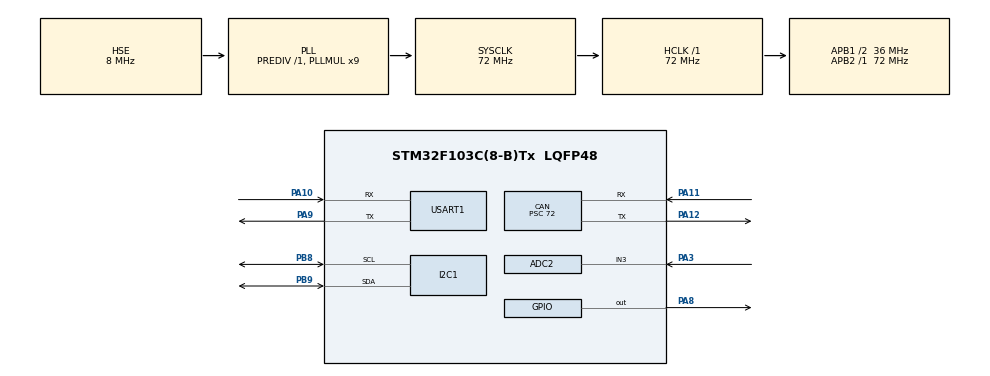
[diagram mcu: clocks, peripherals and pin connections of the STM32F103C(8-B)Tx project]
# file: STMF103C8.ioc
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ADC1.Channel-0\#ChannelRegularConversion=ADC_CHANNEL_TEMPSENSOR
ADC1.ContinuousConvMode=ENABLE
ADC1.NbrOfConversion=1
ADC1.NbrOfConversionFlag=1
ADC1.Rank-0\#ChannelRegularConversion=1
ADC1.SamplingTime-0\#ChannelRegularConversion=ADC_SAMPLETIME_71CYCLES_5
ADC1.master=1
ADC2.Channel-3\#ChannelRegularConversion=ADC_CHANNEL_3
ADC2.ContinuousConvMode=DISABLE
ADC2.EnableRegularConversion=ENABLE
ADC2.NbrOfConversion=1
ADC2.NbrOfConversionFlag=1
ADC2.Rank-3\#ChannelRegularConversion=1
ADC2.SamplingTime-3\#ChannelRegularConversion=ADC_SAMPLETIME_1CYCLE_5
CAN.BS1=CAN_BS1_6TQ
CAN.BS2=CAN_BS2_6TQ
CAN.CalculateBaudRate=38461
CAN.CalculateTimeBit=26000
CAN.CalculateTimeQuantum=2000.0
CAN.Mode=CAN_MODE_LOOPBACK
CAN.Prescaler=72
FREERTOS.Tasks01=defaultTask,24,128,StartDefaultTask,Default,NULL,Dynamic,NULL,NULL
I2C1.OwnAddress=0x55
Mcu.Family=STM32F1
Mcu.Name=STM32F103C(8-B)Tx
Mcu.Package=LQFP48
NVIC.PriorityGroup=NVIC_PRIORITYGROUP_4
NVIC.TIM2_IRQn=true\:5\:0\:false\:false\:true\:true\:true\:true\:true
NVIC.TIM3_IRQn=true\:15\:0\:true\:false\:true\:false\:false\:true\:true
NVIC.TimeBase=TIM3_IRQn
NVIC.TimeBaseIP=TIM3
NVIC.USART1_IRQn=true\:5\:0\:false\:false\:true\:true\:true\:true\:true
NVIC.USB_LP_CAN1_RX0_IRQn=true\:5\:0\:true\:false\:true\:true\:true\:true\:true
PA10.Mode=Asynchronous
PA10.Signal=USART1_RX
PA11.Mode=CAN_Activate
PA11.Signal=CAN_RX
PA12.Mode=CAN_Activate
PA12.Signal=CAN_TX
PA13.Mode=Serial_Wire
PA13.Signal=SYS_JTMS-SWDIO
PA14.Mode=Serial_Wire
PA14.Signal=SYS_JTCK-SWCLK
PA3.Signal=ADCx_IN3
PA8.Signal=GPIO_Output
PA9.Mode=Asynchronous
PA9.Signal=USART1_TX
PB8.Mode=I2C
PB8.Signal=I2C1_SCL
PB9.Mode=I2C
PB9.Signal=I2C1_SDA
PC14-OSC32_IN.Mode=LSE-External-Oscillator
PC14-OSC32_IN.Signal=RCC_OSC32_IN
PC15-OSC32_OUT.Mode=LSE-External-Oscillator
PC15-OSC32_OUT.Signal=RCC_OSC32_OUT
PD0-OSC_IN.Mode=HSE-External-Oscillator
PD0-OSC_IN.Signal=RCC_OSC_IN
PD1-OSC_OUT.Mode=HSE-External-Oscillator
PD1-OSC_OUT.Signal=RCC_OSC_OUT
ProjectManager.HeapSize=0x200
ProjectManager.StackSize=0x400
ProjectManager.TargetToolchain=MDK-ARM V5.32
RCC.ADCPresc=RCC_ADCPCLK2_DIV6
RCC.AHBFreq_Value=72000000
RCC.APB1CLKDivider=RCC_HCLK_DIV2
RCC.APB1Freq_Value=36000000
RCC.APB1TimFreq_Value=72000000
RCC.APB2Freq_Value=72000000
RCC.APB2TimFreq_Value=72000000
RCC.HCLKFreq_Value=72000000
RCC.PLLMUL=RCC_PLL_MUL9
RCC.PLLSourceVirtual=RCC_PLLSOURCE_HSE
RCC.SYSCLKFreq_VALUE=72000000
RCC.SYSCLKSource=RCC_SYSCLKSOURCE_PLLCLK
RCC.USBFreq_Value=72000000
SH.ADCx_IN3.0=ADC2_IN3,IN3
TIM2.Period=20000-1
TIM2.Prescaler=7200-1
USART1.VirtualMode=VM_ASYNC
VP_ADC1_TempSens_Input.Mode=IN-TempSens
VP_FREERTOS_VS_CMSIS_V2.Mode=CMSIS_V2
VP_SYS_VS_tim3.Mode=TIM3
VP_TIM2_VS_ClockSourceINT.Mode=Internal
board=custom

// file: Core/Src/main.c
/* USER CODE BEGIN Header */
/**
 ******************************************************************************
 * @file           : main.c
 * @brief          : Main program body
 ******************************************************************************
 * @attention
 *
 * Copyright (c) 2023 STMicroelectronics.
 * All rights reserved.
 *
 * This software is licensed under terms that can be found in the LICENSE file
 * in the root directory of this software component.
 * If no LICENSE file comes with this software, it is provided AS-IS.
 *
 ******************************************************************************
 */
/* USER CODE END Header */
#include "main.h"
#include "cmsis_os.h"
#include "adc.h"
#include "can.h"
#include "i2c.h"
#include "tim.h"
#include "usart.h"
#include "gpio.h"

/* USER CODE BEGIN Includes */
#include "needle.h"
/* USER CODE END Includes */

/* USER CODE BEGIN PTD */

//local master
// git branch --set-upstream-to=origin/master master

/* USER CODE END PTD */

void SystemClock_Config(void);
void MX_FREERTOS_Init(void);

/* USER CODE BEGIN 0 */
/************************************6*8***********************************/
const unsigned char F6x8[][6] =
    {
        0x00, 0x00, 0x00, 0x00, 0x00, 0x00, // sp
        0x00, 0x00, 0x00, 0x2f, 0x00, 0x00, // !
        0x00, 0x00, 0x07, 0x00, 0x07, 0x00, // "
        0x00, 0x14, 0x7f, 0x14, 0x7f, 0x14, // #
        0x00, 0x24, 0x2a, 0x7f, 0x2a, 0x12, // $
        0x00, 0x62, 0x64, 0x08, 0x13, 0x23, // %
        0x00, 0x36, 0x49, 0x55, 0x22, 0x50, // &
        0x00, 0x00, 0x05, 0x03, 0x00, 0x00, // '
        0x00, 0x00, 0x1c, 0x22, 0x41, 0x00, // (
        0x00, 0x00, 0x41, 0x22, 0x1c, 0x00, // )
        0x00, 0x14, 0x08, 0x3E, 0x08, 0x14, // *
        0x00, 0x08, 0x08, 0x3E, 0x08, 0x08, // +
        0x00, 0x00, 0x00, 0xA0, 0x60, 0x00, // ,
        0x00, 0x08, 0x08, 0x08, 0x08, 0x08, // -
        0x00, 0x00, 0x60, 0x60, 0x00, 0x00, // .
        0x00, 0x20, 0x10, 0x08, 0x04, 0x02, // /
        0x00, 0x3E, 0x51, 0x49, 0x45, 0x3E, // 0
        0x00, 0x00, 0x42, 0x7F, 0x40, 0x00, // 1
        0x00, 0x42, 0x61, 0x51, 0x49, 0x46, // 2
        0x00, 0x21, 0x41, 0x45, 0x4B, 0x31, // 3
        0x00, 0x18, 0x14, 0x12, 0x7F, 0x10, // 4
        0x00, 0x27, 0x45, 0x45, 0x45, 0x39, // 5
        0x00, 0x3C, 0x4A, 0x49, 0x49, 0x30, // 6
        0x00, 0x01, 0x71, 0x09, 0x05, 0x03, // 7
        0x00, 0x36, 0x49, 0x49, 0x49, 0x36, // 8
        0x00, 0x06, 0x49, 0x49, 0x29, 0x1E, // 9
        0x00, 0x00, 0x36, 0x36, 0x00, 0x00, // :
        0x00, 0x00, 0x56, 0x36, 0x00, 0x00, // ;
        0x00, 0x08, 0x14, 0x22, 0x41, 0x00, // <
        0x00, 0x14, 0x14, 0x14, 0x14, 0x14, // =
        0x00, 0x00, 0x41, 0x22, 0x14, 0x08, // >
        0x00, 0x02, 0x01, 0x51, 0x09, 0x06, // ?
        0x00, 0x32, 0x49, 0x59, 0x51, 0x3E, // @
        0x00, 0x7C, 0x12, 0x11, 0x12, 0x7C, // A
        0x00, 0x7F, 0x49, 0x49, 0x49, 0x36, // B
        0x00, 0x3E, 0x41, 0x41, 0x41, 0x22, // C
        0x00, 0x7F, 0x41, 0x41, 0x22, 0x1C, // D
        0x00, 0x7F, 0x49, 0x49, 0x49, 0x41, // E
        0x00, 0x7F, 0x09, 0x09, 0x09, 0x01, // F
        0x00, 0x3E, 0x41, 0x49, 0x49, 0x7A, // G
        0x00, 0x7F, 0x08, 0x08, 0x08, 0x7F, // H
        0x00, 0x00, 0x41, 0x7F, 0x41, 0x00, // I
        0x00, 0x20, 0x40, 0x41, 0x3F, 0x01, // J
        0x00, 0x7F, 0x08, 0x14, 0x22, 0x41, // K
        0x00, 0x7F, 0x40, 0x40, 0x40, 0x40, // L
        0x00, 0x7F, 0x02, 0x0C, 0x02, 0x7F, // M
        0x00, 0x7F, 0x04, 0x08, 0x10, 0x7F, // N
        0x00, 0x3E, 0x41, 0x41, 0x41, 0x3E, // O
        0x00, 0x7F, 0x09, 0x09, 0x09, 0x06, // P
        0x00, 0x3E, 0x41, 0x51, 0x21, 0x5E, // Q
        0x00, 0x7F, 0x09, 0x19, 0x29, 0x46, // R
        0x00, 0x46, 0x49, 0x49, 0x49, 0x31, // S
        0x00, 0x01, 0x01, 0x7F, 0x01, 0x01, // T
        0x00, 0x3F, 0x40, 0x40, 0x40, 0x3F, // U
        0x00, 0x1F, 0x20, 0x40, 0x20, 0x1F, // V
        0x00, 0x3F, 0x40, 0x38, 0x40, 0x3F, // W
        0x00, 0x63, 0x14, 0x08, 0x14, 0x63, // X
        0x00, 0x07, 0x08, 0x70, 0x08, 0x07, // Y
        0x00, 0x61, 0x51, 0x49, 0x45, 0x43, // Z
        0x00, 0x00, 0x7F, 0x41, 0x41, 0x00, // [
        0x00, 0x55, 0x2A, 0x55, 0x2A, 0x55, // 55
        0x00, 0x00, 0x41, 0x41, 0x7F, 0x00, // ]
        0x00, 0x04, 0x02, 0x01, 0x02, 0x04, // ^
        0x00, 0x40, 0x40, 0x40, 0x40, 0x40, // _
        0x00, 0x00, 0x01, 0x02, 0x04, 0x00, // '
        0x00, 0x20, 0x54, 0x54, 0x54, 0x78, // a
        0x00, 0x7F, 0x48, 0x44, 0x44, 0x38, // b
        0x00, 0x38, 0x44, 0x44, 0x44, 0x20, // c
        0x00, 0x38, 0x44, 0x44, 0x48, 0x7F, // d
        0x00, 0x38, 0x54, 0x54, 0x54, 0x18, // e
        0x00, 0x08, 0x7E, 0x09, 0x01, 0x02, // f
        0x00, 0x18, 0xA4, 0xA4, 0xA4, 0x7C, // g
        0x00, 0x7F, 0x08, 0x04, 0x04, 0x78, // h
        0x00, 0x00, 0x44, 0x7D, 0x40, 0x00, // i
        0x00, 0x40, 0x80, 0x84, 0x7D, 0x00, // j
        0x00, 0x7F, 0x10, 0x28, 0x44, 0x00, // k
        0x00, 0x00, 0x41, 0x7F, 0x40, 0x00, // l
        0x00, 0x7C, 0x04, 0x18, 0x04, 0x78, // m
        0x00, 0x7C, 0x08, 0x04, 0x04, 0x78, // n
        0x00, 0x38, 0x44, 0x44, 0x44, 0x38, // o
        0x00, 0xFC, 0x24, 0x24, 0x24, 0x18, // p
        0x00, 0x18, 0x24, 0x24, 0x18, 0xFC, // q
        0x00, 0x7C, 0x08, 0x04, 0x04, 0x08, // r
        0x00, 0x48, 0x54, 0x54, 0x54, 0x20, // s
        0x00, 0x04, 0x3F, 0x44, 0x40, 0x20, // t
        0x00, 0x3C, 0x40, 0x40, 0x20, 0x7C, // u
        0x00, 0x1C, 0x20, 0x40, 0x20, 0x1C, // v
        0x00, 0x3C, 0x40, 0x30, 0x40, 0x3C, // w
        0x00, 0x44, 0x28, 0x10, 0x28, 0x44, // x
        0x00, 0x1C, 0xA0, 0xA0, 0xA0, 0x7C, // y
        0x00, 0x44, 0x64, 0x54, 0x4C, 0x44, // z
        0x14, 0x14, 0x14, 0x14, 0x14, 0x14, // horiz lines
};

char smalls[][40] = {
    {0x00,0x00,0x00,0x00,0x00,0x00,0x00,0x00,0x00,0x00,0x00,0x00,0x00,0x00,0x00,0x00,0x00,0x80,0xF0,0xFE,0xFE,0xF8,0x80,0x00,0x00,0x00,0x00,0x00,0x00,0x00,0x00,0x00,0x00,0x00,0x00,0x00,0x00,0x00,0x00,0x00,
    },

    {0x80,0x80,0x80,0x80,0x80,0x80,0x80,0x80,0x80,0x80,0x80,0x80,0x80,0x80,0x80,0xC0,0xFC,0xFF,0xFF,0xFF,0xFF,0xFF,0xFF,0xFC,0xE0,0x80,0x80,0x80,0x80,0x80,0x80,0x80,0x80,0x80,0x80,0x80,0x80,0x80,0x80,0x80,
    },

    {0x01,0x01,0x03,0x07,0x07,0x0F,0x1F,0x3F,0x3F,0x7F,0xFF,0xFF,0xFF,0xFF,0xFF,0xFF,0xFF,0xFF,0xFF,0xFF,0xFF,0xFF,0xFF,0xFF,0xFF,0xFF,0xFF,0xFF,0xFF,0xFF,0x7F,0x3F,0x3F,0x1F,0x0F,0x0F,0x07,0x03,0x01,0x01,
    },

    { 0x00,0x00,0x00,0x00,0x00,0x00,0x00,0x00,0x00,0x00,0xE0,0xFC,0xFF,0xFF,0xFF,0xFF,0xFF,0xFF,0xFF,0x7F,0x7F,0xFF,0xFF,0xFF,0xFF,0xFF,0xFF,0xFF,0xFE,0xF0,0x80,0x00,0x00,0x00,0x00,0x00,0x00,0x00,0x00,0x00,
    },

    {0x00,0x00,0x00,0x00,0x00,0x00,0x00,0x40,0x78,0x7F,0x3F,0x1F,0x0F,0x0F,0x07,0x03,0x01,0x01,0x00,0x00,0x00,0x00,0x00,0x01,0x03,0x07,0x07,0x0F,0x1F,0x3F,0x3F,0x7C,0x60,0x00,0x00,0x00,0x00,0x00,0x00,0x00,
    },
};

void write_command(uint8_t com)
{

    uint8_t datas[2];
    datas[0] = 0;
    datas[1] = com;
    HAL_I2C_Master_Transmit(&hi2c1, 0x78, datas, 2, 1000);
}
void write_data(uint8_t data)
{
    uint8_t datas[2];
    datas[0] = 0x40;
    datas[1] = data;
    HAL_I2C_Master_Transmit(&hi2c1, 0x78, datas, 2, 1000);
}

void OLED_Set_Pos(unsigned char x, unsigned char y)
{
    write_command(0xb0 + y);
    write_command(((x & 0xf0) >> 4) | 0x10);
    write_command((x & 0x0f));
}

void dis_init()
{

    write_command(0xAE); // 关闭显示

    write_command(0x20);     // 设置显示模式
    write_command(0x02);     // 设置位页地址模式
    write_command(0xB0); // 写显示内容 页地址             设置page地址起始地址
    write_command(0x10);     // 写显示内容 列地址高四位        columnd地址起始的高4位
    write_command(0x00);     // 写显示内容 列列地址低四位      columnd地址起始的低4位

    write_command(0x21); // 设置 columnd(列) 的限制地址
    write_command(0x0);  // 设置 columnd(列) 起始地址
    write_command(0xff); // 设置 columnd(列) 结束地址

    write_command(0x22); // 设置 页 的限制地址
    write_command(0x0);  // 设置 页 起始地址
    write_command(0x7);  // 设置 页 结束地址

    // 设置RAM中垂直第N位重定向位COM0,也就是垂直高度64位的显示屏垂直高度的COM0（COM0-COM63）设置成RAM内存中第N位，
    // 即，显示屏的第1个位置显示内容的地址重定向到RAM中地址N，整个地址循环定向到显示屏显示
    // 也即，显示屏从RAM第N个地址所对应的内容开始显示
    write_command(0x40 + 0);

    write_command(0x81); // contract control         设置对比度命令
    write_command(0xff); //--128                      设置对比度 1-255

    write_command(0xA6); //--normal / reverse 显示反转，A6:黑底白字  A7:白底黑字

    // 固定参数
    {
    write_command(0xA1); // set segment remap

    write_command(0xA8); //--set multiplex ratio(1 to 64)
    write_command(0x3F); //--1/32 duty

    write_command(0xA1); // set segment remap 列重定向

    write_command(0xD3); //-set display offset
    write_command(0x00); //

    write_command(0xD5); // set osc division 设置显示帧数
    write_command(0xF0); //

    write_command(0xD8); // set area color mode off
    write_command(0x05); //

    write_command(0xD9); // Set Pre-Charge Period 预充电周期
    write_command(0xF1); //

    write_command(0xC8); // Com scan direction
    write_command(0xDA); // set com pin configuartion
    write_command(0x12); //

    write_command(0xDB); // set Vcomh 设置电平
    write_command(0x30); //

    write_command(0x8D); // set charge pump enable
    write_command(0x14); //

    write_command(0x20); // set charge pump enable
    write_command(0x00); //
}
    write_command(0xAF); //--turn on oled panel 打开显示

    HAL_Delay(1);

    for (int i = 0; i < 8; i++)
    {
        write_command(0xb0 + i); // 设置页地址  0~7
        write_command(0x00);     // 设置显示位置—列地址 低四位
        write_command(0x10);     // 设置显示位置—列地址 高四位
        for (int n = 0; n < 128; n++)
            write_data(0);
    }

}

void movde_()
{
    for (int k = 0; k < 128; k++)
    {
        write_command(0xB0);
        write_command(0x00 + k % 16);
        write_command(0x10 + k / 16);
        for (int i = 0; i < 10; i++)
            write_data(0x0f);

        HAL_Delay(1);

        write_command(0xB0);
        write_command(0x00 + k % 16);
        write_command(0x10 + k / 16);
        for (int m = 0; m < 10; m++)
            write_data(0);
    }
}
void Set_x_y(uint8_t x, uint8_t y)
{
    write_command(0xB0 + y);
    write_command(((x & 0xf0) >> 4) | 0x10);
    write_command((x & 0x0f));
}
void clear_()
{

    Set_x_y(94, 7);
    for (int k = 4; k >= 0; k--)
    {
        for (int i = 0; i < 6; i++)
        {
            write_data(0);
        }
    }

    Set_x_y(16, 7);
    for (int k = 4; k >= 0; k--)
    {
        for (int i = 0; i < 6; i++)
        {

            {
                write_data(0);
            }
        }
    }

    Set_x_y(16, 0);
    for (int k = 4; k >= 0; k--)
    {
        for (int i = 0; i < 6; i++)
        {

            {
                write_data(0);
            }
        }
    }
}
void delays(uint16_t ums)
{
    HAL_TIM_Base_Start(&htim2);
    __HAL_TIM_SET_COUNTER(&htim2, 0);

    while (__HAL_TIM_GET_COUNTER(&htim2) < ums)
    {
    }

    HAL_TIM_Base_Stop(&htim2);

}
void dp_star()
{
    for (int i = 0; i < 5; i++)
    {

        write_command(0xB0 + i + 1);
        write_command(((64 & 0xf0) >> 4) | 0x10);
        write_command((64 & 0x0f));

        for (int n = 0; n < 40; n++)
        {
            write_data(smalls[i][n]);
        }
    }
}

char recv[100] = {0};
uint8_t data_len = 0;

/* USER CODE END 0 */

int main(void)
{

    /* MCU Configuration--------------------------------------------------------*/

    /* Reset of all peripherals, Initializes the Flash interface and the Systick. */
    HAL_Init();

    /* Configure the system clock */
    SystemClock_Config();

    /* Initialize all configured peripherals */
    MX_GPIO_Init();
    MX_I2C1_Init();
    MX_USART1_UART_Init();
    MX_TIM2_Init();
    MX_ADC1_Init();
    MX_CAN_Init();
    MX_ADC2_Init();
    /* USER CODE BEGIN 2 */

    dis_init();

    Uart_init( NULL, 1);
    // HAL_UART_Receive_IT(&huart1, (uint8_t *)&recv[data_len], 1);

    float Temperature;
    // HAL_TIM_Base_Start_IT(&htim2);

    HAL_ADC_Start(&hadc1);
    HAL_ADC_PollForConversion(&hadc1, 100); /* start adc and set timeout is 100 ms */

    int ks = 0;
    while (0)
    {

        // CAN_senddata(&hcan);
        //
        // HAL_Delay(1000);
        CAN_senddata(&hcan);
        HAL_TIM_Base_Start(&htim2);
        __HAL_TIM_SET_COUNTER(&htim2, 0);

        while (1)
        {
        }

#if 1
        __HAL_TIM_SET_COUNTER(&htim2, 0);
        HAL_TIM_Base_Start_IT(&htim2);

        dp_star();

        while (__HAL_TIM_GET_COUNTER(&htim2) < 15000)
        {
        }

        HAL_TIM_Base_Stop_IT(&htim2);

#endif
        uint16_t temp = 0;

#if 1

        float value = HAL_ADC_GetValue(&hadc1);
        float Vol_Value = value * (3.3 / 4096);
        // int Temperature=0;
        Temperature = (1.43 - Vol_Value) / 0.0043 + 25;
        // printf("MCU Internal Temperature: %.4f\r\n", Temperature);
        //  printf("MCU Internal Temperature: \r\n");

        dp_star();
        clear_();
        uint8_t arrys[5] = {0};
        if (Temperature > 40)
        {

            arrys[3] = 'W' - 32;
            arrys[2] = 'A' - 32;
            arrys[1] = 'R' - 32;
            arrys[0] = 'N' - 32;
            Set_x_y(16, 7);
        }
        else
        {

            arrys[3] = 'N' - 32;
            arrys[2] = 'O' - 32;
            arrys[1] = 'R' - 32;
            arrys[0] = 'M' - 32;
            Set_x_y(16, 0);
        }

        for (int k = 3; k >= 0; k--)
        {
            for (int i = 0; i < 6; i++)
            {
                {
                    write_data(F6x8[arrys[k]][i]);
                }
            }
        }

        ks++;

        temp = Temperature * 100;
        arrys[4] = temp / 1000;
        arrys[3] = temp / 100 % 10;
        arrys[2] = 100;
        arrys[1] = temp / 10 % 10;
        arrys[0] = temp % 10;
        Set_x_y(94, 7);

        for (int k = 4; k >= 0; k--)
        {
            for (int i = 0; i < 6; i++)
            {
                if (arrys[k] == 100)
                {
                    write_data(F6x8[14][i]);
                }
                else
                {
                    write_data(F6x8[arrys[k] + 16][i]);
                }
            }
        }
    }

#endif

    #if 1

    #endif
    /* USER CODE END 2 */

    /* Init scheduler */
    osKernelInitialize(); /* Call init function for freertos objects (in freertos.c) */
    // MX_FREERTOS_Init();
     app_entry();
    /* Start scheduler */
    osKernelStart();

    /* We should never get here as control is now taken by the scheduler */
    /* Infinite loop */
    /* USER CODE BEGIN WHILE */

    int kn = 0;

    while (1)
    {
        /* USER CODE END WHILE */

        /* USER CODE BEGIN 3 */

        // void HAL_UART_RxCpltCallback(UART_HandleTypeDef *huart);//Use this funtion as IRQ function for : HAL_UART_Receive_IT(&huart1, (uint8_t *)&recv[data_len], 1);

        if (kn >= 10000)
        {
            kn = 0;
        }
        int arrys[4] = {0};
        arrys[3] = kn % 10;
        arrys[2] = kn / 10 % 10;
        arrys[1] = kn / 100 % 10;
        arrys[0] = kn / 1000 % 10;
        write_command(0xB0 + 7);
        write_command(0x00 + 104 % 16); //
        write_command(0x10 + 104 / 16); //
        HAL_Delay(1);
        for (int k = 0; k < 4; k++)
        {
            for (int i = 0; i < 6; i++)
                write_data(F6x8[arrys[k] + 16][i]);
        }

#if 1

        for (int k = 0; k < 128; k++)
        {
            write_command(0xB0);
            write_command(0x00 + k % 16);
            write_command(0x10 + k / 16);
            for (int i = 0; i < 10; i++)
                write_data(0x0f);

            HAL_Delay(1);

            write_command(0xB0);
            write_command(0x00 + k % 16);
            write_command(0x10 + k / 16);
            for (int m = 0; m < 10; m++)
                write_data(0);
        }
    }
#endif

    /* USER CODE END 3 */
}

void SystemClock_Config(void)
{
    RCC_OscInitTypeDef RCC_OscInitStruct = {0};
    RCC_ClkInitTypeDef RCC_ClkInitStruct = {0};
    RCC_PeriphCLKInitTypeDef PeriphClkInit = {0};

    /** Initializes the RCC Oscillators according to the specified parameters
     * in the RCC_OscInitTypeDef structure.
     */
    RCC_OscInitStruct.OscillatorType = RCC_OSCILLATORTYPE_HSE;
    RCC_OscInitStruct.HSEState = RCC_HSE_ON;
    RCC_OscInitStruct.HSEPredivValue = RCC_HSE_PREDIV_DIV1;
    RCC_OscInitStruct.HSIState = RCC_HSI_ON;
    RCC_OscInitStruct.PLL.PLLState = RCC_PLL_ON;
    RCC_OscInitStruct.PLL.PLLSource = RCC_PLLSOURCE_HSE;
    RCC_OscInitStruct.PLL.PLLMUL = RCC_PLL_MUL9;
    if (HAL_RCC_OscConfig(&RCC_OscInitStruct) != HAL_OK)
    {
        Error_Handler();
    }

    /** Initializes the CPU, AHB and APB buses clocks
     */
    RCC_ClkInitStruct.ClockType = RCC_CLOCKTYPE_HCLK | RCC_CLOCKTYPE_SYSCLK | RCC_CLOCKTYPE_PCLK1 | RCC_CLOCKTYPE_PCLK2;
    RCC_ClkInitStruct.SYSCLKSource = RCC_SYSCLKSOURCE_PLLCLK;
    RCC_ClkInitStruct.AHBCLKDivider = RCC_SYSCLK_DIV1;
    RCC_ClkInitStruct.APB1CLKDivider = RCC_HCLK_DIV2;
    RCC_ClkInitStruct.APB2CLKDivider = RCC_HCLK_DIV1;

    if (HAL_RCC_ClockConfig(&RCC_ClkInitStruct, FLASH_LATENCY_2) != HAL_OK)
    {
        Error_Handler();
    }
    PeriphClkInit.PeriphClockSelection = RCC_PERIPHCLK_ADC;
    PeriphClkInit.AdcClockSelection = RCC_ADCPCLK2_DIV6;
    if (HAL_RCCEx_PeriphCLKConfig(&PeriphClkInit) != HAL_OK)
    {
        Error_Handler();
    }
}

void HAL_TIM_PeriodElapsedCallback(TIM_HandleTypeDef *htim)
{
    if (htim->Instance == TIM3)
    {
        HAL_IncTick();
    }
    /* USER CODE BEGIN Callback 1 */
    else if (htim->Instance == TIM2)
    {

    }
    /* USER CODE END Callback 1 */
}

void Error_Handler(void)
{
    __disable_irq();
    while (1)
    {
    }
}
